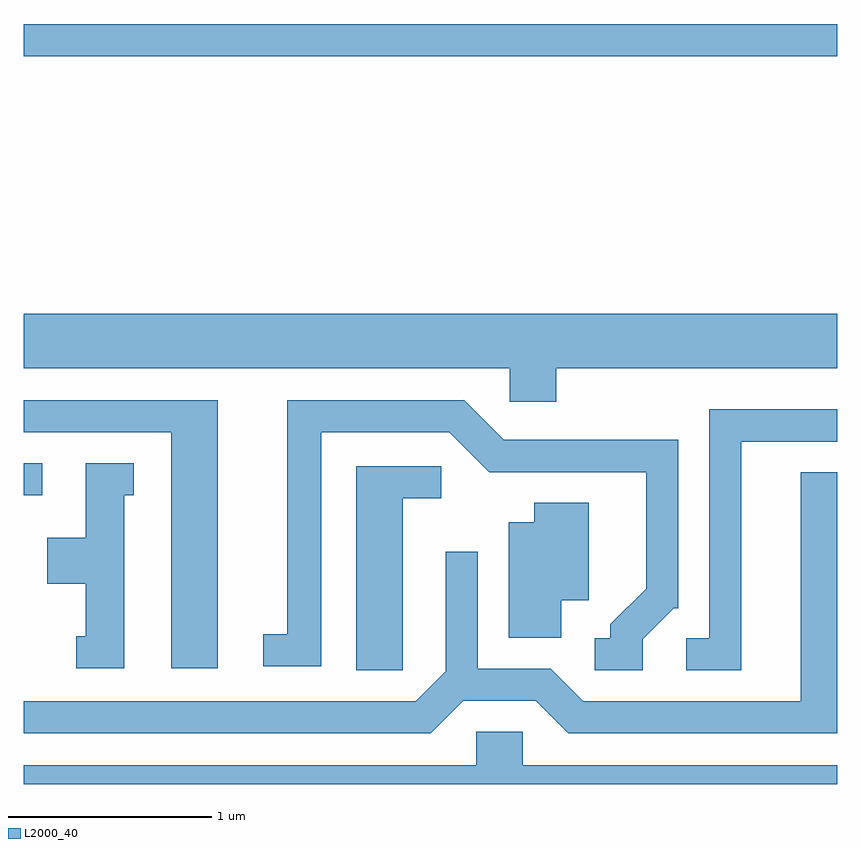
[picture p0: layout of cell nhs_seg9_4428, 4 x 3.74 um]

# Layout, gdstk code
import gdstk
lib = gdstk.Library(unit=1e-6, precision=1e-09)
def R(c, l, rs):  # rectangles x0, y0, x1, y1
    for r in rs: c.add(gdstk.rectangle(r[:2], r[2:], *l))
def P(c, l, *ps):  # polygons
    for p in ps: c.add(gdstk.Polygon(p, *l))
L2000_40 = (2000, 40)

nhs_seg9_4428 = lib.new_cell('nhs_seg9_4428')
R(nhs_seg9_4428, L2000_40, [(315.611,1997.851,315.703,1998.009), (315.611,2000.011,319.611,2000.169)])
P(nhs_seg9_4428, L2000_40, [(318.229,1998.476),(319.611,1998.476),(319.611,1998.744),(315.611,1998.744),(315.611,1998.476),(318.001,1998.476),(318.001,1998.311),(318.229,1998.311)],
  [(316.564,1998.319),(315.611,1998.319),(315.611,1998.161),(316.336,1998.161),(316.336,1997.001),(316.564,1997.001)],
  [(318.654,1997.144),(318.807,1997.296),(318.829,1997.296),(318.829,1998.124),(317.972,1998.124),(317.777,1998.319),(316.906,1998.319),(316.906,1997.169),(316.788,1997.169),(316.788,1997.011),(317.074,1997.011),(317.074,1998.161),(317.704,1998.161),(317.899,1997.966),(318.671,1997.966),(318.671,1997.392),(318.496,1997.217),(318.496,1997.149),(318.418,1997.149),(318.418,1996.991),(318.654,1996.991)],
  [(319.139,1998.116),(319.611,1998.116),(319.611,1998.274),(318.981,1998.274),(318.981,1997.149),(318.868,1997.149),(318.868,1996.991),(319.139,1996.991)],
  [(316.104,1997.851),(316.153,1997.851),(316.153,1998.009),(315.916,1998.009),(315.916,1997.644),(315.726,1997.644),(315.726,1997.416),(315.916,1997.416),(315.916,1997.159),(315.868,1997.159),(315.868,1997.001),(316.104,1997.001)],
  [(317.474,1997.836),(317.663,1997.836),(317.663,1997.994),(317.246,1997.994),(317.246,1996.991),(317.474,1996.991)],
  [(317.772,1996.841),(318.129,1996.841),(318.289,1996.681),(319.611,1996.681),(319.611,1997.964),(319.431,1997.964),(319.431,1996.839),(318.362,1996.839),(318.202,1996.999),(317.844,1996.999),(317.844,1997.573),(317.686,1997.573),(317.686,1996.987),(317.539,1996.839),(315.611,1996.839),(315.611,1996.681),(317.612,1996.681)],
  [(318.254,1997.336),(318.389,1997.336),(318.389,1997.814),(318.121,1997.814),(318.121,1997.719),(317.996,1997.719),(317.996,1997.151),(318.254,1997.151)],
  [(319.611,1996.524),(318.064,1996.524),(318.064,1996.689),(317.836,1996.689),(317.836,1996.524),(315.611,1996.524),(315.611,1996.432),(319.611,1996.432)])

lib.write_gds('nhs_seg9_4428.gds')
